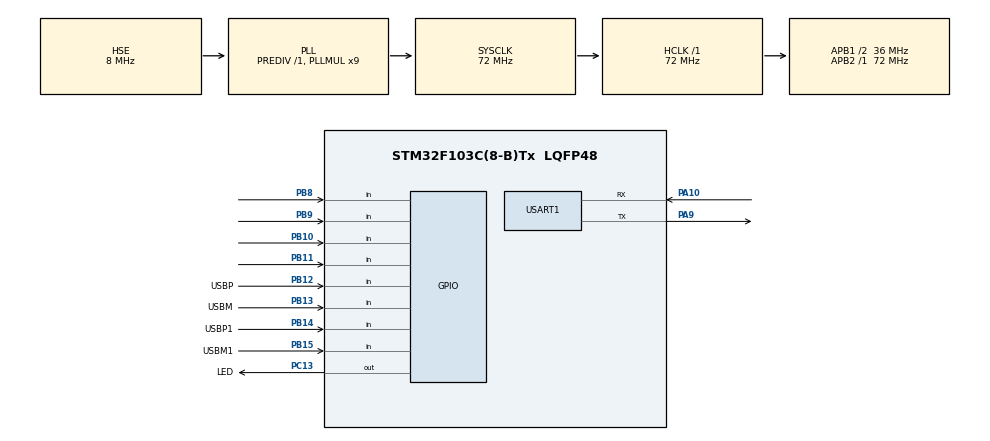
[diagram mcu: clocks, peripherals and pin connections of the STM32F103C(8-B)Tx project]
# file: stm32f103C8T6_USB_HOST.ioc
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Mcu.Family=STM32F1
Mcu.Name=STM32F103C(8-B)Tx
Mcu.Package=LQFP48
NVIC.PriorityGroup=NVIC_PRIORITYGROUP_4
NVIC.TIM2_IRQn=true\:0\:0\:false\:false\:true\:true
PA10.Mode=Asynchronous
PA10.Signal=USART1_RX
PA13.Mode=Serial_Wire
PA13.Signal=SYS_JTMS-SWDIO
PA14.Mode=Serial_Wire
PA14.Signal=SYS_JTCK-SWCLK
PA9.Mode=Asynchronous
PA9.Signal=USART1_TX
PB10.GPIO_PuPd=GPIO_PULLDOWN
PB10.Signal=GPIO_Input
PB11.GPIO_PuPd=GPIO_PULLDOWN
PB11.Signal=GPIO_Input
PB12.GPIO_Label=USBP
PB12.GPIO_PuPd=GPIO_PULLDOWN
PB12.Signal=GPIO_Input
PB13.GPIO_Label=USBM
PB13.GPIO_PuPd=GPIO_PULLDOWN
PB13.Signal=GPIO_Input
PB14.GPIO_Label=USBP1
PB14.GPIO_PuPd=GPIO_PULLDOWN
PB14.Signal=GPIO_Input
PB15.GPIO_Label=USBM1
PB15.GPIO_PuPd=GPIO_PULLDOWN
PB15.Signal=GPIO_Input
PB8.GPIO_PuPd=GPIO_PULLDOWN
PB8.Signal=GPIO_Input
PB9.GPIO_PuPd=GPIO_PULLDOWN
PB9.Signal=GPIO_Input
PC13-TAMPER-RTC.GPIO_Label=LED
PC13-TAMPER-RTC.GPIO_ModeDefaultOutputPP=GPIO_MODE_OUTPUT_OD
PC13-TAMPER-RTC.Signal=GPIO_Output
PC14-OSC32_IN.Mode=LSE-External-Oscillator
PC14-OSC32_IN.Signal=RCC_OSC32_IN
PC15-OSC32_OUT.Mode=LSE-External-Oscillator
PC15-OSC32_OUT.Signal=RCC_OSC32_OUT
PD0-OSC_IN.Mode=HSE-External-Oscillator
PD0-OSC_IN.Signal=RCC_OSC_IN
PD1-OSC_OUT.Mode=HSE-External-Oscillator
PD1-OSC_OUT.Signal=RCC_OSC_OUT
ProjectManager.HeapSize=0x200
ProjectManager.StackSize=0x400
ProjectManager.TargetToolchain=SW4STM32
RCC.AHBFreq_Value=72000000
RCC.APB1CLKDivider=RCC_HCLK_DIV2
RCC.APB1Freq_Value=36000000
RCC.APB1TimFreq_Value=72000000
RCC.APB2Freq_Value=72000000
RCC.APB2TimFreq_Value=72000000
RCC.HCLKFreq_Value=72000000
RCC.PLLMUL=RCC_PLL_MUL9
RCC.PLLSourceVirtual=RCC_PLLSOURCE_HSE
RCC.SYSCLKFreq_VALUE=72000000
RCC.SYSCLKSource=RCC_SYSCLKSOURCE_PLLCLK
RCC.USBFreq_Value=72000000
TIM2.Period=999
TIM2.Prescaler=72-1
USART1.VirtualMode=VM_ASYNC
VP_TIM2_VS_ClockSourceINT.Mode=Internal
board=custom

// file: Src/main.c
/* USER CODE BEGIN Header */
/**
  ******************************************************************************
  * @file           : main.c
  * @brief          : Main program body
  ******************************************************************************
  ** This notice applies to any and all portions of this file
  * that are not between comment pairs USER CODE BEGIN and
  * USER CODE END. Other portions of this file, whether
  * inserted by the user or by software development tools
  * are owned by their respective copyright owners.
  *
  * COPYRIGHT(c) 2021 STMicroelectronics
  *
  * Redistribution and use in source and binary forms, with or without modification,
  * are permitted provided that the following conditions are met:
  *   1. Redistributions of source code must retain the above copyright notice,
  *      this list of conditions and the following disclaimer.
  *   2. Redistributions in binary form must reproduce the above copyright notice,
  *      this list of conditions and the following disclaimer in the documentation
  *      and/or other materials provided with the distribution.
  *   3. Neither the name of STMicroelectronics nor the names of its contributors
  *      may be used to endorse or promote products derived from this software
  *      without specific prior written permission.
  *
  * THIS SOFTWARE IS PROVIDED BY THE COPYRIGHT HOLDERS AND CONTRIBUTORS "AS IS"
  * AND ANY EXPRESS OR IMPLIED WARRANTIES, INCLUDING, BUT NOT LIMITED TO, THE
  * IMPLIED WARRANTIES OF MERCHANTABILITY AND FITNESS FOR A PARTICULAR PURPOSE ARE
  * DISCLAIMED. IN NO EVENT SHALL THE COPYRIGHT HOLDER OR CONTRIBUTORS BE LIABLE
  * FOR ANY DIRECT, INDIRECT, INCIDENTAL, SPECIAL, EXEMPLARY, OR CONSEQUENTIAL
  * DAMAGES (INCLUDING, BUT NOT LIMITED TO, PROCUREMENT OF SUBSTITUTE GOODS OR
  * SERVICES; LOSS OF USE, DATA, OR PROFITS; OR BUSINESS INTERRUPTION) HOWEVER
  * CAUSED AND ON ANY THEORY OF LIABILITY, WHETHER IN CONTRACT, STRICT LIABILITY,
  * OR TORT (INCLUDING NEGLIGENCE OR OTHERWISE) ARISING IN ANY WAY OUT OF THE USE
  * OF THIS SOFTWARE, EVEN IF ADVISED OF THE POSSIBILITY OF SUCH DAMAGE.
  *
  ******************************************************************************
  */
/* USER CODE END Header */

#include "main.h"

/* USER CODE BEGIN Includes */
#include "usb_host.h"
/* USER CODE END Includes */

TIM_HandleTypeDef htim2;

UART_HandleTypeDef huart1;

void SystemClock_Config(void);
static void MX_GPIO_Init(void);
static void MX_USART1_UART_Init(void);
static void MX_TIM2_Init(void);
/* USER CODE BEGIN PFP */
void retarget_put_char(char p)
{
	HAL_UART_Transmit(&huart1, &p, 1, 0xffffff); // send message via UART
}
int _write(int fd, char* ptr, int len)
{
    (void)fd;
    int i = 0;
    while (ptr[i] && (i < len))
    {
    	if (ptr[i] == '\r')
    	{

    	}
    	else
    	{
			retarget_put_char((int)ptr[i]);
			if (ptr[i] == '\n')
			{
				retarget_put_char((int)'\r');
			}
    	}
        i++;
    }
    return len;
}

/* USER CODE END PFP */

/* USER CODE BEGIN 0 */
void TimerCallback()
{
	usb_process();
}

void led(int k)
{
	 HAL_GPIO_WritePin(LED_GPIO_Port,LED_Pin,k?GPIO_PIN_RESET:GPIO_PIN_SET);
}
/* USER CODE END 0 */

int main(void)
{

  /* MCU Configuration--------------------------------------------------------*/

  /* Reset of all peripherals, Initializes the Flash interface and the Systick. */
  HAL_Init();

  /* Configure the system clock */
  SystemClock_Config();

  /* Initialize all configured peripherals */
  MX_GPIO_Init();
  MX_USART1_UART_Init();
  MX_TIM2_Init();
  /* USER CODE BEGIN 2 */
  printf("\n\nProgram start\n\n");
  initStates(14,15,12,13,10,11,8,9);
  //initStates(14,15,12,13,-1,-1,-1,-1);
 // initStates(12,13,-1,-1,-1,-1,-1,-1);
  HAL_Delay(10);
  //HAL_TIM_Base_Start(&htim1);
  TIM2->PSC = HAL_RCC_GetSysClockFreq()/1000000-1;
  HAL_TIM_Base_Start_IT(&htim2);
  /* USER CODE END 2 */

  /* Infinite loop */
  while (1)
  {

    /* USER CODE BEGIN 3 */
	  HAL_Delay(10);
	  printState();
  }
  /* USER CODE END 3 */
}

void SystemClock_Config(void)
{
  RCC_OscInitTypeDef RCC_OscInitStruct = {0};
  RCC_ClkInitTypeDef RCC_ClkInitStruct = {0};

  /**Initializes the CPU, AHB and APB busses clocks
  */
  RCC_OscInitStruct.OscillatorType = RCC_OSCILLATORTYPE_HSE;
  RCC_OscInitStruct.HSEState = RCC_HSE_ON;
  RCC_OscInitStruct.HSEPredivValue = RCC_HSE_PREDIV_DIV1;
  RCC_OscInitStruct.HSIState = RCC_HSI_ON;
  RCC_OscInitStruct.PLL.PLLState = RCC_PLL_ON;
  RCC_OscInitStruct.PLL.PLLSource = RCC_PLLSOURCE_HSE;
  RCC_OscInitStruct.PLL.PLLMUL = RCC_PLL_MUL9;
  if (HAL_RCC_OscConfig(&RCC_OscInitStruct) != HAL_OK)
  {
    Error_Handler();
  }
  /**Initializes the CPU, AHB and APB busses clocks
  */
  RCC_ClkInitStruct.ClockType = RCC_CLOCKTYPE_HCLK|RCC_CLOCKTYPE_SYSCLK
                              |RCC_CLOCKTYPE_PCLK1|RCC_CLOCKTYPE_PCLK2;
  RCC_ClkInitStruct.SYSCLKSource = RCC_SYSCLKSOURCE_PLLCLK;
  RCC_ClkInitStruct.AHBCLKDivider = RCC_SYSCLK_DIV1;
  RCC_ClkInitStruct.APB1CLKDivider = RCC_HCLK_DIV2;
  RCC_ClkInitStruct.APB2CLKDivider = RCC_HCLK_DIV1;

  if (HAL_RCC_ClockConfig(&RCC_ClkInitStruct, FLASH_LATENCY_2) != HAL_OK)
  {
    Error_Handler();
  }
}

static void MX_TIM2_Init(void)
{

  TIM_ClockConfigTypeDef sClockSourceConfig = {0};
  TIM_MasterConfigTypeDef sMasterConfig = {0};

  htim2.Instance = TIM2;
  htim2.Init.Prescaler = 72-1;
  htim2.Init.CounterMode = TIM_COUNTERMODE_UP;
  htim2.Init.Period = 999;
  htim2.Init.ClockDivision = TIM_CLOCKDIVISION_DIV1;
  htim2.Init.AutoReloadPreload = TIM_AUTORELOAD_PRELOAD_DISABLE;
  if (HAL_TIM_Base_Init(&htim2) != HAL_OK)
  {
    Error_Handler();
  }
  sClockSourceConfig.ClockSource = TIM_CLOCKSOURCE_INTERNAL;
  if (HAL_TIM_ConfigClockSource(&htim2, &sClockSourceConfig) != HAL_OK)
  {
    Error_Handler();
  }
  sMasterConfig.MasterOutputTrigger = TIM_TRGO_RESET;
  sMasterConfig.MasterSlaveMode = TIM_MASTERSLAVEMODE_DISABLE;
  if (HAL_TIMEx_MasterConfigSynchronization(&htim2, &sMasterConfig) != HAL_OK)
  {
    Error_Handler();
  }

}

static void MX_USART1_UART_Init(void)
{

  huart1.Instance = USART1;
  huart1.Init.BaudRate = 115200;
  huart1.Init.WordLength = UART_WORDLENGTH_8B;
  huart1.Init.StopBits = UART_STOPBITS_1;
  huart1.Init.Parity = UART_PARITY_NONE;
  huart1.Init.Mode = UART_MODE_TX_RX;
  huart1.Init.HwFlowCtl = UART_HWCONTROL_NONE;
  huart1.Init.OverSampling = UART_OVERSAMPLING_16;
  if (HAL_UART_Init(&huart1) != HAL_OK)
  {
    Error_Handler();
  }

}

static void MX_GPIO_Init(void)
{
  GPIO_InitTypeDef GPIO_InitStruct = {0};

  /* GPIO Ports Clock Enable */
  __HAL_RCC_GPIOC_CLK_ENABLE();
  __HAL_RCC_GPIOD_CLK_ENABLE();
  __HAL_RCC_GPIOA_CLK_ENABLE();
  __HAL_RCC_GPIOB_CLK_ENABLE();

  /*Configure GPIO pin Output Level */
  HAL_GPIO_WritePin(LED_GPIO_Port, LED_Pin, GPIO_PIN_RESET);

  /*Configure GPIO pin : LED_Pin */
  GPIO_InitStruct.Pin = LED_Pin;
  GPIO_InitStruct.Mode = GPIO_MODE_OUTPUT_OD;
  GPIO_InitStruct.Pull = GPIO_NOPULL;
  GPIO_InitStruct.Speed = GPIO_SPEED_FREQ_LOW;
  HAL_GPIO_Init(LED_GPIO_Port, &GPIO_InitStruct);

  /*Configure GPIO pins : PA0 PA1 PA2 PA3
                           PA4 PA5 PA6 PA7
                           PA8 PA11 PA12 PA15 */
  GPIO_InitStruct.Pin = GPIO_PIN_0|GPIO_PIN_1|GPIO_PIN_2|GPIO_PIN_3
                          |GPIO_PIN_4|GPIO_PIN_5|GPIO_PIN_6|GPIO_PIN_7
                          |GPIO_PIN_8|GPIO_PIN_11|GPIO_PIN_12|GPIO_PIN_15;
  GPIO_InitStruct.Mode = GPIO_MODE_ANALOG;
  HAL_GPIO_Init(GPIOA, &GPIO_InitStruct);

  /*Configure GPIO pins : PB0 PB1 PB2 PB3
                           PB4 PB5 PB6 PB7 */
  GPIO_InitStruct.Pin = GPIO_PIN_0|GPIO_PIN_1|GPIO_PIN_2|GPIO_PIN_3
                          |GPIO_PIN_4|GPIO_PIN_5|GPIO_PIN_6|GPIO_PIN_7;
  GPIO_InitStruct.Mode = GPIO_MODE_ANALOG;
  HAL_GPIO_Init(GPIOB, &GPIO_InitStruct);

  /*Configure GPIO pins : PB10 PB11 USBP_Pin USBM_Pin
                           USBP1_Pin USBM1_Pin PB8 PB9 */
  GPIO_InitStruct.Pin = GPIO_PIN_10|GPIO_PIN_11|USBP_Pin|USBM_Pin
                          |USBP1_Pin|USBM1_Pin|GPIO_PIN_8|GPIO_PIN_9;
  GPIO_InitStruct.Mode = GPIO_MODE_INPUT;
  GPIO_InitStruct.Pull = GPIO_PULLDOWN;
  HAL_GPIO_Init(GPIOB, &GPIO_InitStruct);

}

void Error_Handler(void)
{
}

/************************ (C) COPYRIGHT STMicroelectronics *****END OF FILE****/
